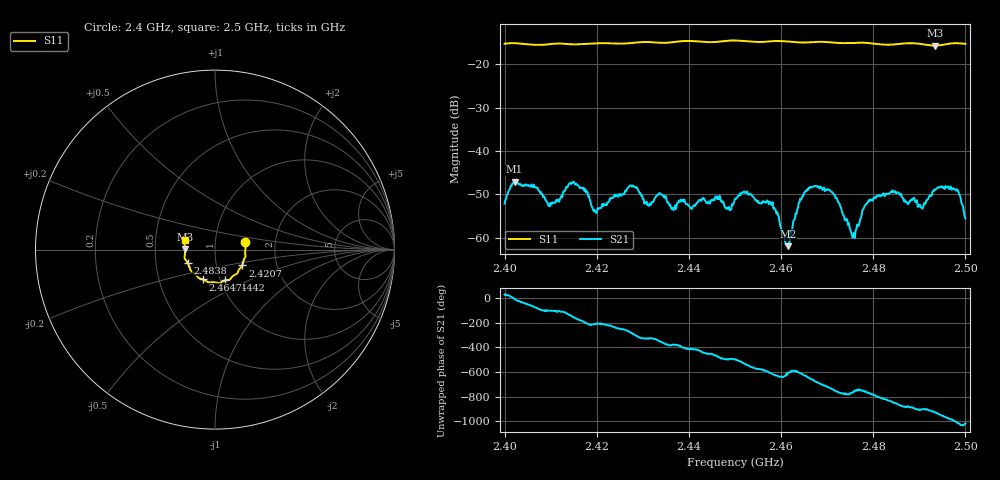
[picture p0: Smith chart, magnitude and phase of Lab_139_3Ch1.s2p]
# Hz S RI R 50
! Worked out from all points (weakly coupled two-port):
!   601 points, 2.4 GHz to 2.5 GHz, reference 50 ohm
!   highest |S21| = -47.06 dB at 2.4022 GHz (marker M1); lowest = -61.9 dB at 2.4615 GHz (marker M2)
!   lowest |S11| = -15.6 dB at 2.4935 GHz (marker M3), VSWR 1.40, Z = 35.8 + j0.14 ohm
!   |S11| at or under -10 dB: start of sweep to end of sweep
!   S12 and S22 are empty: the file has one direction only
!   S11 on the Smith chart (normalised r, x): 2.4 GHz: 1.40, +0.11; 2.4207 GHz: 1.33, -0.24; 2.4442 GHz: 1.05, -0.37; 2.4647 GHz: 0.83, -0.29; 2.4838 GHz: 0.73, -0.11; 2.5 GHz: 0.71, +0.08
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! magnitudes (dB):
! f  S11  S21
! 2.4 GHz  -15.2  -52.1
! 2.4022 GHz  -15.1  -47.1
! 2.4097 GHz  -15.3  -52.3
! 2.4167 GHz  -15.3  -48.4
! 2.4207 GHz  -15.1  -53.1
! 2.4273 GHz  -15.1  -48.0
! 2.4333 GHz  -15.0  -50.1
! 2.4442 GHz  -14.9  -52.0
! 2.45 GHz  -14.5  -50.9
! 2.4577 GHz  -14.7  -51.8
! 2.4615 GHz  -14.7  -61.9
! 2.4647 GHz  -14.9  -50.3
! 2.4667 GHz  -14.9  -48.3
! 2.4712 GHz  -14.9  -49.6
! 2.4757 GHz  -15.0  -59.8
! 2.4788 GHz  -15.0  -51.9
! 2.4833 GHz  -15.4  -49.9
! 2.4838 GHz  -15.4  -49.4
! 2.4903 GHz  -15.3  -53.0
! 2.4935 GHz  -15.6  -48.8
! 2.498 GHz  -15.1  -49.2
! 2.5 GHz  -15.2  -55.5
